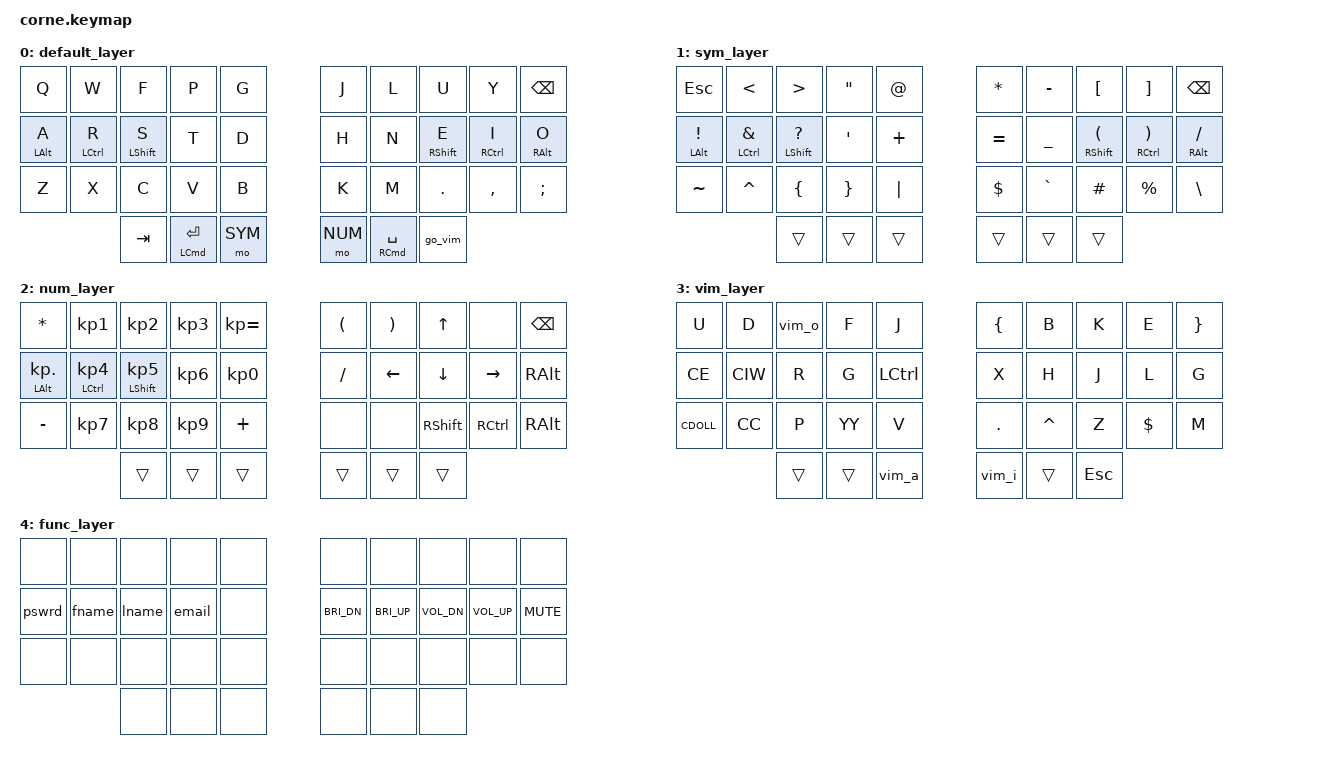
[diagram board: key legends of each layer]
#include <behaviors.dtsi>
#include <dt-bindings/zmk/keys.h>
#include <dt-bindings/zmk/bt.h>

// LAYERS
#define DEFAULT 0
#define SYM     1
#define NUM     2
#define VIM     3
#define FUNC    4

/ {
        chosen {
                zmk,physical-layout = &foostan_corne_5col_layout;
        };

        behaviors {

                mod_tap {
                        flavor = "tap-preferred";
                };

                mo_to: mo_to {
                        compatible = "zmk,behavior-hold-tap";
                        #binding-cells = <2>;
                        bindings = <&mo>, <&to>;
                        tapping-term-ms = <200>;
                };
        };


        macros {
                pswrd: pswrd {
                compatible = "zmk,behavior-macro";
                #binding-cells = <0>;
                bindings
                        = <&macro_tap &kp O &kp N &kp I &kp O &kp N &kp N1 &kp N0>
                        ;
                };

                fname: fname {
                compatible = "zmk,behavior-macro";
                #binding-cells = <0>;
                bindings
                        = <&macro_press &kp LSHFT>
                        , <&macro_tap &kp A>
                        , <&macro_release &kp LSHFT>
                        , <&macro_tap &kp D &kp A &kp M>
                        ;
                };

                lname: lname {
                compatible = "zmk,behavior-macro";
                #binding-cells = <0>;
                bindings
                        = <&macro_press &kp LSHFT>
                        , <&macro_tap &kp S>
                        , <&macro_release &kp LSHFT>
                        , <&macro_tap &kp O &kp U &kp T &kp H &kp W &kp I &kp C &kp K>
                        ;
                };

                email: email {
                compatible = "zmk,behavior-macro";
                #binding-cells = <0>;
                bindings
                        = <&macro_tap &kp A &kp D &kp A &kp M>
                        , <&macro_tap &kp S &kp O &kp U &kp T &kp H &kp W &kp I &kp C &kp K>
                        , <&macro_tap &kp AT &kp G &kp M &kp A &kp I &kp L>
                        , <&macro_tap &kp DOT &kp C &kp O &kp M>
                        ;
                };

                CIW: CIW {
                compatible = "zmk,behavior-macro";
                #binding-cells = <0>;
                bindings
                        = <&macro_tap &kp C &kp I &kp W >
                        ;
                };

                CE: CE {
                compatible = "zmk,behavior-macro";
                #binding-cells = <0>;
                bindings
                        = <&macro_tap &kp C &kp E >
                        ;
                };

                CDOLL: CDOLL {
                compatible = "zmk,behavior-macro";
                #binding-cells = <0>;
                bindings
                        = <&macro_tap &kp C &kp DLLR >
                        ;
                };

                CC: CC {
                compatible = "zmk,behavior-macro";
                #binding-cells = <0>;
                bindings
                        = <&macro_tap &kp C &kp C >
                        ;
                };

                YY: YY {
                compatible = "zmk,behavior-macro";
                #binding-cells = <0>;
                bindings
                        = <&macro_tap &kp Y &kp Y >
                        ;
                };

                vim_i: vim_i {
                compatible = "zmk,behavior-macro";
                #binding-cells = <0>;
                bindings
                        = <&macro_tap &kp I &to DEFAULT >
                        ;
                };

                vim_a: vim_a {
                compatible = "zmk,behavior-macro";
                #binding-cells = <0>;
                bindings
                        = <&macro_tap &kp A &to DEFAULT >
                        ;
                };

                vim_o: vim_o {
                compatible = "zmk,behavior-macro";
                #binding-cells = <0>;
                bindings
                        = <&macro_tap &kp O &to DEFAULT >
                        ;
                };

                go_vim: go_vim {
                compatible = "zmk,behavior-macro";
                #binding-cells = <0>;
                bindings
                        = <&macro_tap &kp ESC &to VIM >
                        ;
                };     
        };


        combos {
                compatible = "zmk,combos";
                combo_caps {
                timeout-ms = <50>;
                layers = <0>;
                key-positions = <32 33>;
                bindings = <&kp CAPS>;
                };

                combo_func {
                timeout-ms = <50>;
                layers = <0>;
                key-positions = <30 35>;
                bindings = <&mo FUNC>;
                };
        };

        keymap {
                compatible = "zmk,keymap";

                default_layer {
// -----------------------------------------------------------------------------------------
//   |  Q  |  W  |  F  |  P  |  G  |    |  J  |  L  |  U  |  Y  | BSP |
//   |  A  |  R  |  S  |  T  |  D  |    |  H  |  N  |  E  |  I  |  O  |
//   |  Z  |  X  |  C  |  V  |  B  |    |  K  |  M  |  .  |  ,  |  ;  |
//
//             | TAB | SPC | L2:L2 |    | L1:L0 | ENT | L3 |
// -----------------------------------------------------------------------------------------
                        bindings = <
&kp Q &kp W &kp F &kp P &kp G                      &kp J &kp L &kp U &kp Y &kp BSPC
&mt LALT A &mt LCTRL R &mt LSHFT S &kp T &kp D     &kp H &kp N &mt RSHFT E &mt RCTRL I &mt RALT O
&kp Z &kp X &kp C &kp V &kp B                      &kp K &kp M &kp DOT &kp COMMA &kp SEMI

&kp TAB &mt LCMD RET &mo SYM   &mo NUM &mt RCMD SPACE &go_vim
                        >;
                };

                sym_layer {
// -----------------------------------------------------------------------------------------
//   | ESC |  <  |  >  |  "  |  @  |    |  *  |  -  |  [  |  ]  | BSP |
//   |  !  |  &  |  ?  |  '  |  +  |    |  =  |  _  |  (  |  )  |  /  |
//   |  ~  |  ^  |  {  |  }  |  |  |    |  $  |  `  |  #  |  %  |  \  |
// -----------------------------------------------------------------------------------------
                        bindings = <
&kp ESC &kp LT &kp GT &kp DQT &kp AT                              &kp ASTRK &kp MINUS &kp LBKT &kp RBKT &kp BSPC
&mt LALT EXCL &mt LCTRL AMPS &mt LSHFT QMARK &kp SQT &kp PLUS    &kp EQUAL &kp UNDER &mt RSHFT LPAR &mt RCTRL RPAR &mt RALT FSLH
&kp TILDE &kp CARET &kp LBRC &kp RBRC &kp PIPE                    &kp DLLR &kp GRAVE &kp HASH &kp PRCNT &kp BSLH

&trans &trans &trans    &trans &trans &trans
                        >;
                };

                num_layer {
// -----------------------------------------------------------------------------------------
//   | * |  1  |  2  |  3  |  =  |    |  (  |   )  |  UP  |       | BSP |
//   | . |  4  |  5  |  6  |  0  |    |  /  | LEFT | DOWN | RIGHT |     |
//   | - |  7  |  8  |  9  |  +  |    |     |      |      |       |     |
// -----------------------------------------------------------------------------------------
                        bindings = <
&kp ASTRK &kp KP_N1 &kp KP_N2 &kp KP_N3 &kp KP_EQUAL                   &kp LPAR &kp RPAR &kp UP &none &kp BSPC
&mt LALT KP_DOT &mt LCTRL KP_N4 &mt LSHFT KP_N5 &kp KP_N6 &kp KP_N0    &kp FSLH &kp LEFT &kp DOWN &kp RIGHT &kp RALT
&kp MINUS &kp KP_N7 &kp KP_N8 &kp KP_N9 &kp PLUS                       &none &none &kp RSHFT &kp RCTRL &kp RALT

&trans &trans &trans  &trans &trans &trans
                        >;
                };

                vim_layer {
// -----------------------------------------------------------------------------------------
//   |  U |  D  |  O  |  F  |  J   |    |  {  |  B  |  K  |  E  |  }  |
//   | CE | CIW |  R  |  G  | CTRL |    |  X  |  H  |  J  |  L  |  G  |
//   | C$ | CC  |  P  |  YY |  V   |    |  .  |  ^  |  Z  |  $  |  M  |
// -----------------------------------------------------------------------------------------
                        bindings = <
&kp U &kp D &vim_o &kp F &kp J    &kp LBRC &kp B &kp K &kp E &kp RBRC
&CE &CIW &kp R &kp G &kp LCTRL    &kp X &kp H &kp J &kp L &kp G
&CDOLL &CC &kp P &YY &kp V        &kp DOT &kp CARET &kp Z &kp DLLR &kp M
                        
&trans &trans &vim_a    &vim_i &trans &kp ESC
                        >;
                };

                func_layer {
// -----------------------------------------------------------------------------------------
//   
//   | pswrd | fname | lname | email | . |     | BRIGHT_DN | BRIGHT_UP | VOL_DN | VOL_UP | MUTE |
//                                                                               
// -----------------------------------------------------------------------------------------
                        bindings = <
&none &none &none &none &none         &none &none &none &none &none
&pswrd &fname &lname &email &none    &kp C_BRI_DN &kp C_BRI_UP &kp C_VOL_DN &kp C_VOL_UP &kp C_MUTE
&none &none &none &none &none         &none &none &none &none &none

&none &none &none    &none &none &none
                        >;
                };
        };
};
